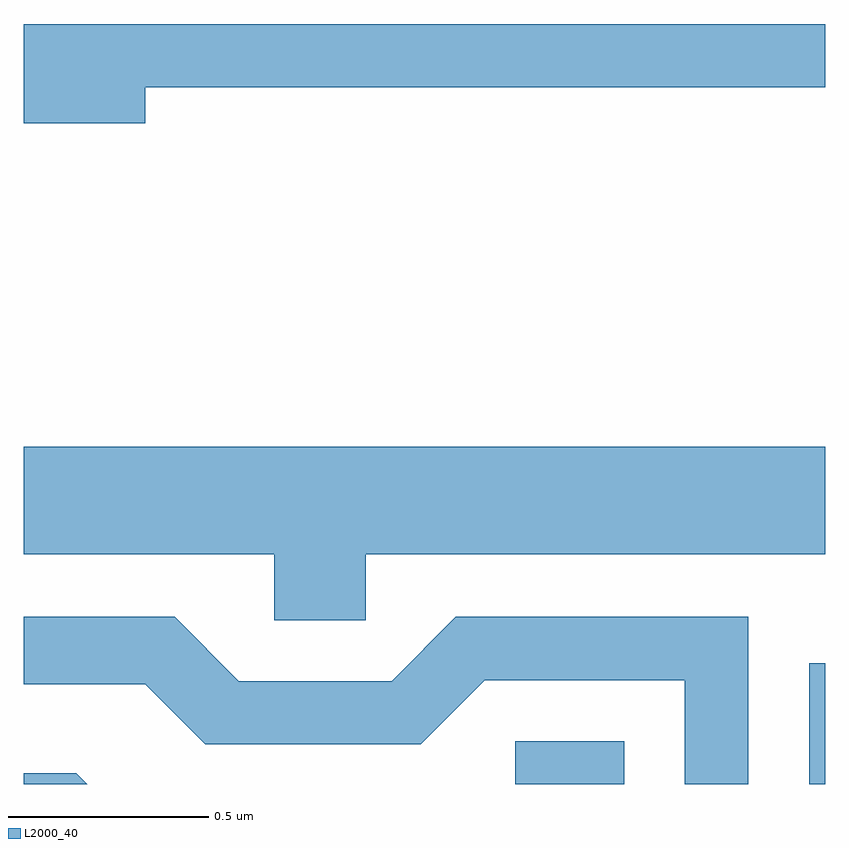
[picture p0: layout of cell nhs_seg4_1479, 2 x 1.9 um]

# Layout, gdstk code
import gdstk
lib = gdstk.Library(unit=1e-6, precision=1e-09)
def R(c, l, rs):  # rectangles x0, y0, x1, y1
    for r in rs: c.add(gdstk.rectangle(r[:2], r[2:], *l))
def P(c, l, *ps):  # polygons
    for p in ps: c.add(gdstk.Polygon(p, *l))
L2000_40 = (2000, 40)

nhs_seg4_1479 = lib.new_cell('nhs_seg4_1479')
R(nhs_seg4_1479, L2000_40, [(196.838,1362.982,197.109,1363.089), (197.571,1362.982,197.611,1363.283)])
P(nhs_seg4_1479, L2000_40, [(195.914,1364.721),(197.611,1364.721),(197.611,1364.879),(195.611,1364.879),(195.611,1364.631),(195.914,1364.631)],
  [(196.464,1363.556),(197.611,1363.556),(197.611,1363.824),(195.611,1363.824),(195.611,1363.556),(196.236,1363.556),(196.236,1363.391),(196.464,1363.391)],
  [(197.419,1363.399),(196.689,1363.399),(196.529,1363.239),(196.147,1363.239),(195.987,1363.399),(195.611,1363.399),(195.611,1363.231),(195.914,1363.231),(196.064,1363.081),(196.602,1363.081),(196.762,1363.241),(197.261,1363.241),(197.261,1362.982),(197.419,1362.982)],
  [(195.742,1363.009),(195.611,1363.009),(195.611,1362.982),(195.769,1362.982)])

lib.write_gds('nhs_seg4_1479.gds')
